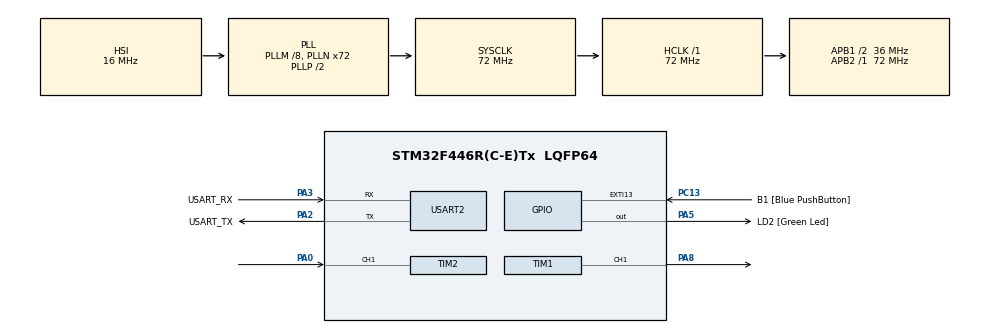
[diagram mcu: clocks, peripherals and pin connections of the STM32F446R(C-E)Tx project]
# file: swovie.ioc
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Dma.Request0=TIM1_CH1
Dma.TIM1_CH1.0.Direction=DMA_MEMORY_TO_PERIPH
Dma.TIM1_CH1.0.FIFOMode=DMA_FIFOMODE_DISABLE
Dma.TIM1_CH1.0.Instance=DMA2_Stream1
Dma.TIM1_CH1.0.MemDataAlignment=DMA_MDATAALIGN_HALFWORD
Dma.TIM1_CH1.0.MemInc=DMA_MINC_ENABLE
Dma.TIM1_CH1.0.Mode=DMA_NORMAL
Dma.TIM1_CH1.0.PeriphDataAlignment=DMA_PDATAALIGN_HALFWORD
Dma.TIM1_CH1.0.PeriphInc=DMA_PINC_DISABLE
Dma.TIM1_CH1.0.Priority=DMA_PRIORITY_LOW
Mcu.Family=STM32F4
Mcu.Name=STM32F446R(C-E)Tx
Mcu.Package=LQFP64
NVIC.DMA2_Stream1_IRQn=true\:0\:0\:false\:false\:true\:false\:true\:true
NVIC.PriorityGroup=NVIC_PRIORITYGROUP_0
NVIC.TIM2_IRQn=true\:0\:0\:false\:false\:true\:true\:true\:true
PA0-WKUP.Signal=S_TIM2_CH1_ETR
PA13.GPIO_Label=TMS
PA13.Mode=Serial_Wire
PA13.Signal=SYS_JTMS-SWDIO
PA14.GPIO_Label=TCK
PA14.Mode=Serial_Wire
PA14.Signal=SYS_JTCK-SWCLK
PA2.GPIO_Label=USART_TX
PA2.Mode=Asynchronous
PA2.Signal=USART2_TX
PA3.GPIO_Label=USART_RX
PA3.Mode=Asynchronous
PA3.Signal=USART2_RX
PA5.GPIO_Label=LD2 [Green Led]
PA5.Signal=GPIO_Output
PA8.Signal=S_TIM1_CH1
PB3.GPIO_Label=SWO
PB3.Signal=SYS_JTDO-SWO
PC13.GPIO_Label=B1 [Blue PushButton]
PC13.GPIO_ModeDefaultEXTI=GPIO_MODE_IT_FALLING
PC13.Signal=GPXTI13
PC14-OSC32_IN.Signal=RCC_OSC32_IN
PC15-OSC32_OUT.Signal=RCC_OSC32_OUT
PH0-OSC_IN.Signal=RCC_OSC_IN
PH1-OSC_OUT.Signal=RCC_OSC_OUT
ProjectManager.HeapSize=0x200
ProjectManager.StackSize=0x400
ProjectManager.TargetToolchain=STM32CubeIDE
RCC.48MHZClocksFreq_Value=84000000
RCC.AHBFreq_Value=72000000
RCC.APB1CLKDivider=RCC_HCLK_DIV2
RCC.APB1Freq_Value=36000000
RCC.APB1TimFreq_Value=72000000
RCC.APB2Freq_Value=72000000
RCC.APB2TimFreq_Value=72000000
RCC.CortexFreq_Value=72000000
RCC.FLatency-AdvancedSettings=FLASH_LATENCY_2
RCC.HCLKFreq_Value=72000000
RCC.HSE_VALUE=8000000
RCC.HSI_VALUE=16000000
RCC.PLLM=8
RCC.PLLN=72
RCC.SYSCLKFreq_VALUE=72000000
RCC.SYSCLKSource=RCC_SYSCLKSOURCE_PLLCLK
RCC.USBFreq_Value=72000000
RCC.VCOOutputFreq_Value=144000000
SH.S_TIM1_CH1.0=TIM1_CH1,PWM Generation1 CH1
SH.S_TIM2_CH1_ETR.0=TIM2_CH1,Input_Capture1_from_TI1
TIM1.AutoReloadPreload=TIM_AUTORELOAD_PRELOAD_DISABLE
TIM1.Channel-PWM\ Generation1\ CH1=TIM_CHANNEL_1
TIM1.Period=56-1
TIM2.Channel-Input_Capture1_from_TI1=TIM_CHANNEL_1
TIM2.ICPolarity_CH1=TIM_INPUTCHANNELPOLARITY_BOTHEDGE
TIM2.Period=56-1
USART2.VirtualMode=VM_ASYNC
VP_TIM1_VS_ClockSourceINT.Mode=Internal
VP_TIM2_VS_ClockSourceINT.Mode=Internal
board=NUCLEO-F446RE

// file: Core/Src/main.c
/* USER CODE BEGIN Header */
/**
  ******************************************************************************
  * @file           : main.c
  * @brief          : Main program body
  ******************************************************************************
  * @attention
  *
  * Copyright (c) 2024 STMicroelectronics.
  * All rights reserved.
  *
  * This software is licensed under terms that can be found in the LICENSE file
  * in the root directory of this software component.
  * If no LICENSE file comes with this software, it is provided AS-IS.
  *
  ******************************************************************************
  */
/* USER CODE END Header */
#include "main.h"
//#include <math.h>

TIM_HandleTypeDef htim1;
TIM_HandleTypeDef htim2;
DMA_HandleTypeDef hdma_tim1_ch1;

UART_HandleTypeDef huart2;

void SystemClock_Config(void);
static void MX_GPIO_Init(void);
static void MX_DMA_Init(void);
static void MX_USART2_UART_Init(void);
static void MX_TIM1_Init(void);
static void MX_TIM2_Init(void);

/* USER CODE BEGIN 0 */
#define MAX_LED 8
#define USE_BRIGHTNESS 1
int datasentflag = 0;

uint8_t LED_Data[MAX_LED][4];
uint8_t LED_Mod[MAX_LED][4];  // for brightness

void Set_LED (int LEDnum, int Red, int Green, int Blue)
{
LED_Data[LEDnum][0] = LEDnum;
LED_Data[LEDnum][1] = Green;
LED_Data[LEDnum][2] = Red;
LED_Data[LEDnum][3] = Blue;
}

#define PI 3.14159265

//void Set_Brightness (int brightness)  // 0-45
//{
//#if USE_BRIGHTNESS
//
//if (brightness > 45) brightness = 45;
//for (int i=0; i<MAX_LED; i++)
//{
//	LED_Mod[i][0] = LED_Data[i][0];
//	for (int j=1; j<4; j++)
//	{
//		float angle = 90-brightness;  // in degrees
//		angle = angle*PI / 180;  // in rad
//		LED_Mod[i][j] = (LED_Data[i][j])/(tan(angle));
//	}
//}
//
//#endif
//
//}

// TODO: change 50 here which represents the number of bits passed that indicates the end of the data transmission
uint16_t pwmData[(24*MAX_LED)+50];

void WS2812_Send (void)
{
uint32_t indx=0;
uint32_t color;

	for (int i= 0; i<MAX_LED; i++)
	{
	  #if USE_BRIGHTNESS
			color = ((LED_Mod[i][1]<<16) | (LED_Mod[i][2]<<8) | (LED_Mod[i][3]));
	  #else
			color = ((LED_Data[i][1]<<16) | (LED_Data[i][2]<<8) | (LED_Data[i][3]));
	  #endif

			for (int i=23; i>=0; i--)
			{
				if (color&(1<<i))
				{
					pwmData[indx] = 27.5;  // 2/3 of 90
				}

				else pwmData[indx] = 72.5;  // 1/3 of 90

				indx++;
			}

	}

	// TODO: change 50 here which represents the number of bits passed that indicates the end of the data transmission
	for (int i=0; i<50; i++)
	{
		pwmData[indx] = 0;
		indx++;
	}

	HAL_TIM_PWM_Start_DMA(&htim1, TIM_CHANNEL_1, (uint32_t *)pwmData, indx);
	while (!datasentflag){};
	datasentflag = 0;
}

void HAL_TIM_PWM_PulseFinishedCallback(TIM_HandleTypeDef *htim)
{
HAL_TIM_PWM_Stop_DMA(&htim1, TIM_CHANNEL_1);
datasentflag=1;
}

#define TIMCLOCK   72000000
#define PRESCALAR  55

uint32_t IC_Val1 = 0;
uint32_t IC_Val2 = 0;
uint32_t Difference = 0;
int Is_First_Captured = 0;

/* Measure Width */
uint32_t usWidth = 0;

void HAL_TIM_IC_CaptureCallback(TIM_HandleTypeDef *htim)
{
	if (htim->Channel == HAL_TIM_ACTIVE_CHANNEL_1)  // if the interrupt source is channel1
	{
		if (Is_First_Captured==0) // if the first value is not captured
		{
			IC_Val1 = HAL_TIM_ReadCapturedValue(htim, TIM_CHANNEL_1); // read the first value
			Is_First_Captured = 1;  // set the first captured as true
		}

		else   // if the first is already captured
		{
			IC_Val2 = HAL_TIM_ReadCapturedValue(htim, TIM_CHANNEL_1);  // read second value

			if (IC_Val2 > IC_Val1)
			{
				Difference = IC_Val2-IC_Val1;
			}

			else if (IC_Val1 > IC_Val2)
			{
				Difference = (0xffffffff - IC_Val1) + IC_Val2;
			}

			float refClock = TIMCLOCK/(PRESCALAR);
			float mFactor = 1000000000/refClock;

			usWidth = Difference*mFactor;

			__HAL_TIM_SET_COUNTER(htim, 0);  // reset the counter
			Is_First_Captured = 0; // set it back to false
		}
	}
}

/* USER CODE END 0 */

int main(void)
{

  /* MCU Configuration--------------------------------------------------------*/

  /* Reset of all peripherals, Initializes the Flash interface and the Systick. */
  HAL_Init();

  /* Configure the system clock */
  SystemClock_Config();

  /* Initialize all configured peripherals */
  MX_GPIO_Init();
  MX_DMA_Init();
  MX_USART2_UART_Init();
  MX_TIM1_Init();
  MX_TIM2_Init();
  /* USER CODE BEGIN 2 */
  TIM1->CCR1 = 50;
  HAL_TIM_IC_Start_IT(&htim2, TIM_CHANNEL_1);

  Set_LED(0, 255, 0, 0);
  Set_LED(1, 0, 255, 0);
  Set_LED(2, 0, 0, 255);

  Set_LED(3, 46, 89, 128);

  Set_LED(4, 156, 233, 100);
  Set_LED(5, 102, 0, 235);
  Set_LED(6, 47, 38, 77);

  Set_LED(7, 255, 200, 0);
  /* USER CODE END 2 */

  /* Infinite loop */
  /* USER CODE BEGIN WHILE */
  while (1)
  {
	  for (int i=0; i<46; i++)
	  {
//		  Set_Brightness(i);
		  WS2812_Send();
		  HAL_Delay (50);
	  }

	  for (int i=45; i>=0; i--)
	  {
//		  Set_Brightness(i);
		  WS2812_Send();
		  HAL_Delay (50);
	  }
    /* USER CODE END WHILE */

  }
}

void SystemClock_Config(void)
{
  RCC_OscInitTypeDef RCC_OscInitStruct = {0};
  RCC_ClkInitTypeDef RCC_ClkInitStruct = {0};

  /** Configure the main internal regulator output voltage
  */
  __HAL_RCC_PWR_CLK_ENABLE();
  __HAL_PWR_VOLTAGESCALING_CONFIG(PWR_REGULATOR_VOLTAGE_SCALE3);

  /** Initializes the RCC Oscillators according to the specified parameters
  * in the RCC_OscInitTypeDef structure.
  */
  RCC_OscInitStruct.OscillatorType = RCC_OSCILLATORTYPE_HSI;
  RCC_OscInitStruct.HSIState = RCC_HSI_ON;
  RCC_OscInitStruct.HSICalibrationValue = RCC_HSICALIBRATION_DEFAULT;
  RCC_OscInitStruct.PLL.PLLState = RCC_PLL_ON;
  RCC_OscInitStruct.PLL.PLLSource = RCC_PLLSOURCE_HSI;
  RCC_OscInitStruct.PLL.PLLM = 8;
  RCC_OscInitStruct.PLL.PLLN = 72;
  RCC_OscInitStruct.PLL.PLLP = RCC_PLLP_DIV2;
  RCC_OscInitStruct.PLL.PLLQ = 2;
  RCC_OscInitStruct.PLL.PLLR = 2;
  if (HAL_RCC_OscConfig(&RCC_OscInitStruct) != HAL_OK)
  {
    Error_Handler();
  }

  /** Initializes the CPU, AHB and APB buses clocks
  */
  RCC_ClkInitStruct.ClockType = RCC_CLOCKTYPE_HCLK|RCC_CLOCKTYPE_SYSCLK
                              |RCC_CLOCKTYPE_PCLK1|RCC_CLOCKTYPE_PCLK2;
  RCC_ClkInitStruct.SYSCLKSource = RCC_SYSCLKSOURCE_PLLCLK;
  RCC_ClkInitStruct.AHBCLKDivider = RCC_SYSCLK_DIV1;
  RCC_ClkInitStruct.APB1CLKDivider = RCC_HCLK_DIV2;
  RCC_ClkInitStruct.APB2CLKDivider = RCC_HCLK_DIV1;

  if (HAL_RCC_ClockConfig(&RCC_ClkInitStruct, FLASH_LATENCY_2) != HAL_OK)
  {
    Error_Handler();
  }
}

static void MX_TIM1_Init(void)
{

  TIM_ClockConfigTypeDef sClockSourceConfig = {0};
  TIM_MasterConfigTypeDef sMasterConfig = {0};
  TIM_OC_InitTypeDef sConfigOC = {0};
  TIM_BreakDeadTimeConfigTypeDef sBreakDeadTimeConfig = {0};

  htim1.Instance = TIM1;
  htim1.Init.Prescaler = 0;
  htim1.Init.CounterMode = TIM_COUNTERMODE_UP;
  htim1.Init.Period = 56-1;
  htim1.Init.ClockDivision = TIM_CLOCKDIVISION_DIV1;
  htim1.Init.RepetitionCounter = 0;
  htim1.Init.AutoReloadPreload = TIM_AUTORELOAD_PRELOAD_DISABLE;
  if (HAL_TIM_Base_Init(&htim1) != HAL_OK)
  {
    Error_Handler();
  }
  sClockSourceConfig.ClockSource = TIM_CLOCKSOURCE_INTERNAL;
  if (HAL_TIM_ConfigClockSource(&htim1, &sClockSourceConfig) != HAL_OK)
  {
    Error_Handler();
  }
  if (HAL_TIM_PWM_Init(&htim1) != HAL_OK)
  {
    Error_Handler();
  }
  sMasterConfig.MasterOutputTrigger = TIM_TRGO_RESET;
  sMasterConfig.MasterSlaveMode = TIM_MASTERSLAVEMODE_DISABLE;
  if (HAL_TIMEx_MasterConfigSynchronization(&htim1, &sMasterConfig) != HAL_OK)
  {
    Error_Handler();
  }
  sConfigOC.OCMode = TIM_OCMODE_PWM1;
  sConfigOC.Pulse = 0;
  sConfigOC.OCPolarity = TIM_OCPOLARITY_HIGH;
  sConfigOC.OCNPolarity = TIM_OCNPOLARITY_HIGH;
  sConfigOC.OCFastMode = TIM_OCFAST_DISABLE;
  sConfigOC.OCIdleState = TIM_OCIDLESTATE_RESET;
  sConfigOC.OCNIdleState = TIM_OCNIDLESTATE_RESET;
  if (HAL_TIM_PWM_ConfigChannel(&htim1, &sConfigOC, TIM_CHANNEL_1) != HAL_OK)
  {
    Error_Handler();
  }
  sBreakDeadTimeConfig.OffStateRunMode = TIM_OSSR_DISABLE;
  sBreakDeadTimeConfig.OffStateIDLEMode = TIM_OSSI_DISABLE;
  sBreakDeadTimeConfig.LockLevel = TIM_LOCKLEVEL_OFF;
  sBreakDeadTimeConfig.DeadTime = 0;
  sBreakDeadTimeConfig.BreakState = TIM_BREAK_DISABLE;
  sBreakDeadTimeConfig.BreakPolarity = TIM_BREAKPOLARITY_HIGH;
  sBreakDeadTimeConfig.AutomaticOutput = TIM_AUTOMATICOUTPUT_DISABLE;
  if (HAL_TIMEx_ConfigBreakDeadTime(&htim1, &sBreakDeadTimeConfig) != HAL_OK)
  {
    Error_Handler();
  }
  HAL_TIM_MspPostInit(&htim1);

}

static void MX_TIM2_Init(void)
{

  TIM_ClockConfigTypeDef sClockSourceConfig = {0};
  TIM_MasterConfigTypeDef sMasterConfig = {0};
  TIM_IC_InitTypeDef sConfigIC = {0};

  htim2.Instance = TIM2;
  htim2.Init.Prescaler = 0;
  htim2.Init.CounterMode = TIM_COUNTERMODE_UP;
  htim2.Init.Period = 56-1;
  htim2.Init.ClockDivision = TIM_CLOCKDIVISION_DIV1;
  htim2.Init.AutoReloadPreload = TIM_AUTORELOAD_PRELOAD_DISABLE;
  if (HAL_TIM_Base_Init(&htim2) != HAL_OK)
  {
    Error_Handler();
  }
  sClockSourceConfig.ClockSource = TIM_CLOCKSOURCE_INTERNAL;
  if (HAL_TIM_ConfigClockSource(&htim2, &sClockSourceConfig) != HAL_OK)
  {
    Error_Handler();
  }
  if (HAL_TIM_IC_Init(&htim2) != HAL_OK)
  {
    Error_Handler();
  }
  sMasterConfig.MasterOutputTrigger = TIM_TRGO_RESET;
  sMasterConfig.MasterSlaveMode = TIM_MASTERSLAVEMODE_DISABLE;
  if (HAL_TIMEx_MasterConfigSynchronization(&htim2, &sMasterConfig) != HAL_OK)
  {
    Error_Handler();
  }
  sConfigIC.ICPolarity = TIM_INPUTCHANNELPOLARITY_BOTHEDGE;
  sConfigIC.ICSelection = TIM_ICSELECTION_DIRECTTI;
  sConfigIC.ICPrescaler = TIM_ICPSC_DIV1;
  sConfigIC.ICFilter = 0;
  if (HAL_TIM_IC_ConfigChannel(&htim2, &sConfigIC, TIM_CHANNEL_1) != HAL_OK)
  {
    Error_Handler();
  }

}

static void MX_USART2_UART_Init(void)
{

  huart2.Instance = USART2;
  huart2.Init.BaudRate = 115200;
  huart2.Init.WordLength = UART_WORDLENGTH_8B;
  huart2.Init.StopBits = UART_STOPBITS_1;
  huart2.Init.Parity = UART_PARITY_NONE;
  huart2.Init.Mode = UART_MODE_TX_RX;
  huart2.Init.HwFlowCtl = UART_HWCONTROL_NONE;
  huart2.Init.OverSampling = UART_OVERSAMPLING_16;
  if (HAL_UART_Init(&huart2) != HAL_OK)
  {
    Error_Handler();
  }

}

static void MX_DMA_Init(void)
{

  /* DMA controller clock enable */
  __HAL_RCC_DMA2_CLK_ENABLE();

  /* DMA interrupt init */
  /* DMA2_Stream1_IRQn interrupt configuration */
  HAL_NVIC_SetPriority(DMA2_Stream1_IRQn, 0, 0);
  HAL_NVIC_EnableIRQ(DMA2_Stream1_IRQn);

}

static void MX_GPIO_Init(void)
{
  GPIO_InitTypeDef GPIO_InitStruct = {0};

  /* GPIO Ports Clock Enable */
  __HAL_RCC_GPIOC_CLK_ENABLE();
  __HAL_RCC_GPIOH_CLK_ENABLE();
  __HAL_RCC_GPIOA_CLK_ENABLE();
  __HAL_RCC_GPIOB_CLK_ENABLE();

  /*Configure GPIO pin Output Level */
  HAL_GPIO_WritePin(LD2_GPIO_Port, LD2_Pin, GPIO_PIN_RESET);

  /*Configure GPIO pin : B1_Pin */
  GPIO_InitStruct.Pin = B1_Pin;
  GPIO_InitStruct.Mode = GPIO_MODE_IT_FALLING;
  GPIO_InitStruct.Pull = GPIO_NOPULL;
  HAL_GPIO_Init(B1_GPIO_Port, &GPIO_InitStruct);

  /*Configure GPIO pin : LD2_Pin */
  GPIO_InitStruct.Pin = LD2_Pin;
  GPIO_InitStruct.Mode = GPIO_MODE_OUTPUT_PP;
  GPIO_InitStruct.Pull = GPIO_NOPULL;
  GPIO_InitStruct.Speed = GPIO_SPEED_FREQ_LOW;
  HAL_GPIO_Init(LD2_GPIO_Port, &GPIO_InitStruct);

}

void Error_Handler(void)
{
  __disable_irq();
  while (1)
  {
  }
}
